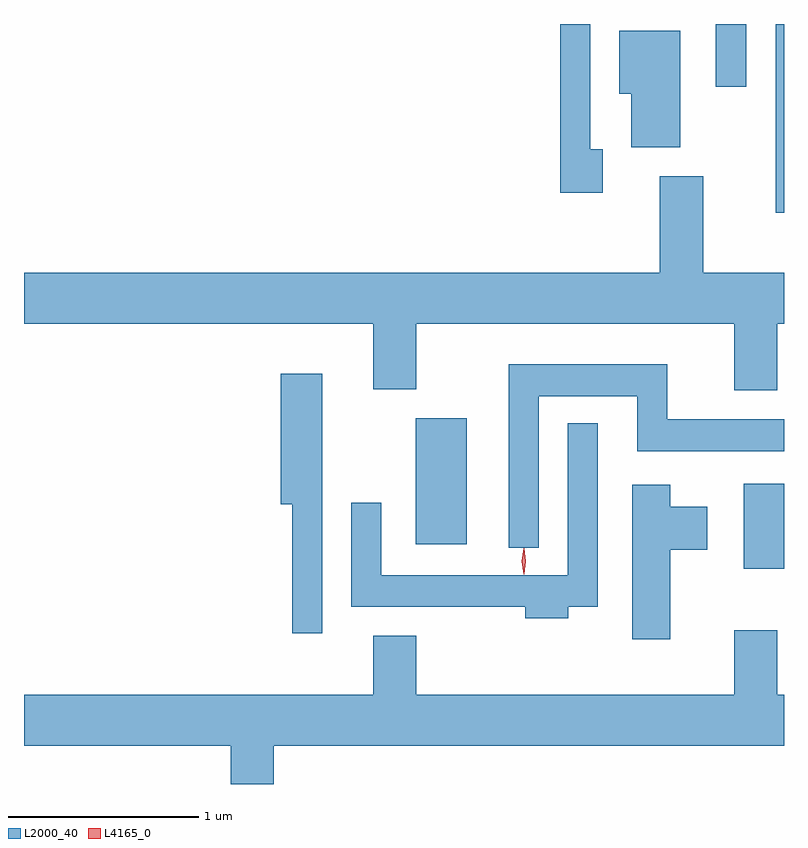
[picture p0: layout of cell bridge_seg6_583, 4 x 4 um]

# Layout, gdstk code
import gdstk
lib = gdstk.Library(unit=1e-6, precision=1e-09)
def R(c, l, rs):  # rectangles x0, y0, x1, y1
    for r in rs: c.add(gdstk.rectangle(r[:2], r[2:], *l))
def P(c, l, *ps):  # polygons
    for p in ps: c.add(gdstk.Polygon(p, *l))
L2000_40 = (2000, 40)
L4165_0 = (4165, 0)

bridge_seg6_583 = lib.new_cell('bridge_seg6_583')
R(bridge_seg6_583, L2000_40, [(541.481,1624.226,541.694,1624.674), (539.756,1624.356,540.024,1625.019), (541.651,1626.101,541.694,1627.094), (541.336,1626.763,541.494,1627.094)])
P(bridge_seg6_583, L2000_40, [(540.739,1626.434),(540.674,1626.434),(540.674,1627.094),(540.516,1627.094),(540.516,1626.206),(540.739,1626.206)],
  [(541.149,1627.059),(540.826,1627.059),(540.826,1626.726),(540.891,1626.726),(540.891,1626.446),(541.149,1626.446)],
  [(541.659,1625.516),(541.694,1625.516),(541.694,1625.784),(541.269,1625.784),(541.269,1626.294),(541.041,1626.294),(541.041,1625.784),(537.694,1625.784),(537.694,1625.516),(539.531,1625.516),(539.531,1625.171),(539.759,1625.171),(539.759,1625.516),(541.431,1625.516),(541.431,1625.166),(541.659,1625.166)],
  [(540.404,1625.136),(540.921,1625.136),(540.921,1624.846),(541.694,1624.846),(541.694,1625.014),(541.079,1625.014),(541.079,1625.304),(540.246,1625.304),(540.246,1624.338),(540.404,1624.338)],
  [(539.264,1625.254),(539.046,1625.254),(539.046,1624.566),(539.106,1624.566),(539.106,1623.888),(539.264,1623.888)],
  [(540.559,1624.026),(540.714,1624.026),(540.714,1624.993),(540.556,1624.993),(540.556,1624.194),(539.574,1624.194),(539.574,1624.573),(539.416,1624.573),(539.416,1624.026),(540.331,1624.026),(540.331,1623.966),(540.559,1623.966)],
  [(541.094,1624.326),(541.289,1624.326),(541.289,1624.554),(541.094,1624.554),(541.094,1624.669),(540.896,1624.669),(540.896,1623.856),(541.094,1623.856)],
  [(539.009,1623.296),(541.694,1623.296),(541.694,1623.564),(541.659,1623.564),(541.659,1623.904),(541.431,1623.904),(541.431,1623.564),(539.759,1623.564),(539.759,1623.874),(539.531,1623.874),(539.531,1623.564),(537.694,1623.564),(537.694,1623.296),(538.781,1623.296),(538.781,1623.094),(539.009,1623.094)])
P(bridge_seg6_583, L4165_0, [(540.324,1624.197),(540.315,1624.266),(540.324,1624.336),(540.325,1624.336),(540.326,1624.336),(540.335,1624.266),(540.326,1624.197),(540.325,1624.197)],
  [(540.324,1624.199),(540.324,1624.2),(540.314,1624.266),(540.324,1624.332),(540.324,1624.333),(540.325,1624.332),(540.334,1624.266),(540.325,1624.2)])

lib.write_gds('bridge_seg6_583.gds')
